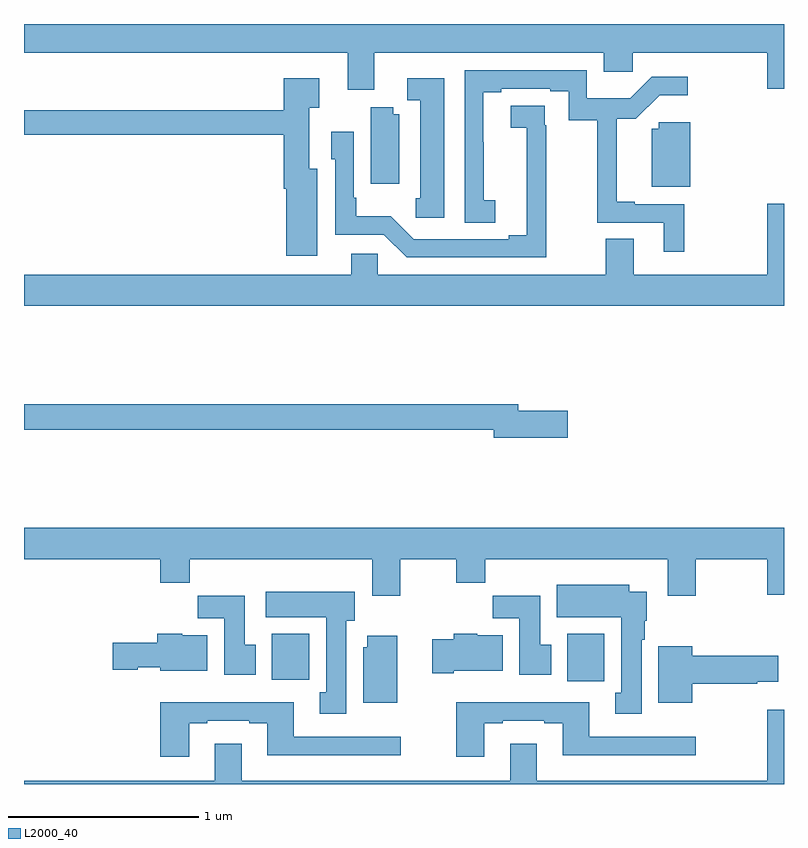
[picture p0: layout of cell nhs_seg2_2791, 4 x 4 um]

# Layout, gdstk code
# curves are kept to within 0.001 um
import gdstk
lib = gdstk.Library(unit=1e-6, precision=1e-09)
def R(c, l, rs):  # rectangles x0, y0, x1, y1
    for r in rs: c.add(gdstk.rectangle(r[:2], r[2:], *l))
def P(c, l, *ps):  # polygons
    for p in ps: c.add(gdstk.Polygon(p, *l))
L2000_40 = (2000, 40)

nhs_seg2_2791 = lib.new_cell('nhs_seg2_2791')
R(nhs_seg2_2791, L2000_40, [(259.859,632.34,260.055,632.59), (258.305,632.348,258.502,632.59)])
P(nhs_seg2_2791, L2000_40, [(258.844,635.648),(260.051,635.648),(260.051,635.55),(260.203,635.55),(260.203,635.648),(260.912,635.648),(260.912,635.46),(261,635.46),(261,635.8),(257,635.8),(257,635.648),(258.704,635.648),(258.704,635.454),(258.844,635.454)],
  [(260.476,634.851),(260.215,634.851),(260.215,634.864),(260.12,634.864),(260.12,635.301),(260.219,635.301),(260.345,635.426),(260.494,635.426),(260.494,635.523),(260.304,635.523),(260.191,635.41),(259.962,635.41),(259.962,635.556),(259.32,635.556),(259.32,634.753),(259.48,634.753),(259.48,634.873),(259.419,634.873),(259.419,635.177),(259.417,635.177),(259.417,635.44),(259.513,635.44),(259.513,635.46),(259.769,635.46),(259.769,635.446),(259.866,635.446),(259.866,635.293),(260.017,635.293),(260.017,634.755),(260.366,634.755),(260.366,634.602),(260.476,634.602)],
  [(259.213,635.515),(259.017,635.515),(259.017,635.4),(259.085,635.4),(259.085,634.884),(259.063,634.884),(259.063,634.779),(259.213,634.779)],
  [(258.544,635.038),(258.502,635.038),(258.502,635.359),(258.553,635.359),(258.553,635.515),(258.368,635.515),(258.368,635.347),(257,635.347),(257,635.218),(258.368,635.218),(258.368,634.934),(258.38,634.934),(258.38,634.581),(258.544,634.581)],
  [(259.748,635.267),(259.742,635.267),(259.742,635.369),(259.563,635.369),(259.563,635.254),(259.645,635.254),(259.646,634.688),(259.55,634.688),(259.55,634.668),(259.05,634.668),(258.929,634.789),(258.748,634.789),(258.748,634.885),(258.735,634.885),(258.735,635.233),(258.618,635.233),(258.618,635.088),(258.639,635.088),(258.639,634.692),(258.894,634.692),(259.014,634.572),(259.748,634.572)],
  [(258.976,635.326),(258.944,635.326),(258.944,635.363),(258.824,635.363),(258.824,634.959),(258.976,634.959)],
  [(260.506,635.284),(260.34,635.284),(260.34,635.248),(260.303,635.248),(260.303,634.943),(260.506,634.943)],
  [(261,634.855),(260.912,634.855),(260.912,634.48),(260.209,634.48),(260.209,634.67),(260.062,634.67),(260.062,634.48),(258.861,634.48),(258.861,634.59),(258.722,634.59),(258.722,634.48),(257,634.48),(257,634.316),(261,634.316)],
  [(259.861,633.764),(259.6,633.764),(259.6,633.8),(257,633.8),(257,633.664),(259.472,633.664),(259.472,633.622),(259.861,633.622)],
  [(258.981,632.984),(259.276,632.984),(259.276,632.86),(259.427,632.86),(259.427,632.984),(260.387,632.984),(260.387,632.79),(260.535,632.79),(260.535,632.984),(260.912,632.984),(260.912,632.796),(261,632.796),(261,633.148),(257,633.148),(257,632.984),(257.717,632.984),(257.717,632.86),(257.873,632.86),(257.873,632.984),(258.833,632.984),(258.833,632.79),(258.981,632.79)],
  [(260.251,632.558),(260.266,632.558),(260.266,632.658),(260.278,632.658),(260.278,632.812),(260.185,632.812),(260.185,632.848),(259.805,632.848),(259.805,632.678),(260.144,632.678),(260.144,632.281),(260.111,632.281),(260.111,632.169),(260.251,632.169)],
  [(258.697,632.658),(258.742,632.658),(258.742,632.812),(258.273,632.812),(258.273,632.678),(258.59,632.678),(258.59,632.282),(258.557,632.282),(258.557,632.169),(258.697,632.169)],
  [(258.22,632.532),(258.163,632.532),(258.163,632.791),(257.914,632.791),(257.914,632.672),(258.053,632.672),(258.053,632.376),(258.22,632.376)],
  [(259.774,632.532),(259.717,632.532),(259.717,632.79),(259.468,632.79),(259.468,632.672),(259.607,632.672),(259.607,632.376),(259.774,632.376)],
  [(257.965,632.584),(257.832,632.584),(257.832,632.59),(257.702,632.59),(257.702,632.544),(257.466,632.544),(257.466,632.402),(257.598,632.402),(257.598,632.414),(257.718,632.414),(257.718,632.396),(257.965,632.396)],
  [(259.261,632.396),(259.519,632.396),(259.519,632.584),(259.386,632.584),(259.386,632.59),(259.261,632.59),(259.261,632.562),(259.149,632.562),(259.149,632.384),(259.261,632.384)],
  [(258.964,632.581),(258.806,632.581),(258.806,632.52),(258.785,632.52),(258.785,632.228),(258.964,632.228)],
  [(260.518,632.327),(260.858,632.327),(260.858,632.339),(260.971,632.339),(260.971,632.474),(260.518,632.474),(260.518,632.524),(260.339,632.524),(260.339,632.228),(260.518,632.228)],
  [(257.869,632.121),(257.965,632.121),(257.965,632.133),(258.185,632.133),(258.185,632.121),(258.281,632.121),(258.281,631.952),(258.982,631.952),(258.982,632.049),(258.421,632.049),(258.421,632.23),(257.717,632.23),(257.717,631.944),(257.869,631.944)],
  [(259.423,632.121),(259.519,632.121),(259.519,632.133),(259.739,632.133),(259.739,632.121),(259.835,632.121),(259.835,631.952),(260.536,631.952),(260.536,632.049),(259.975,632.049),(259.975,632.23),(259.276,632.23),(259.276,631.944),(259.423,631.944)],
  [(258.145,632.011),(258.005,632.011),(258.005,631.816),(257,631.816),(257,631.8),(261,631.8),(261,632.191),(260.912,632.191),(260.912,631.816),(259.699,631.816),(259.699,632.011),(259.559,632.011),(259.559,631.816),(258.145,631.816)])

lib.write_gds('nhs_seg2_2791.gds')
